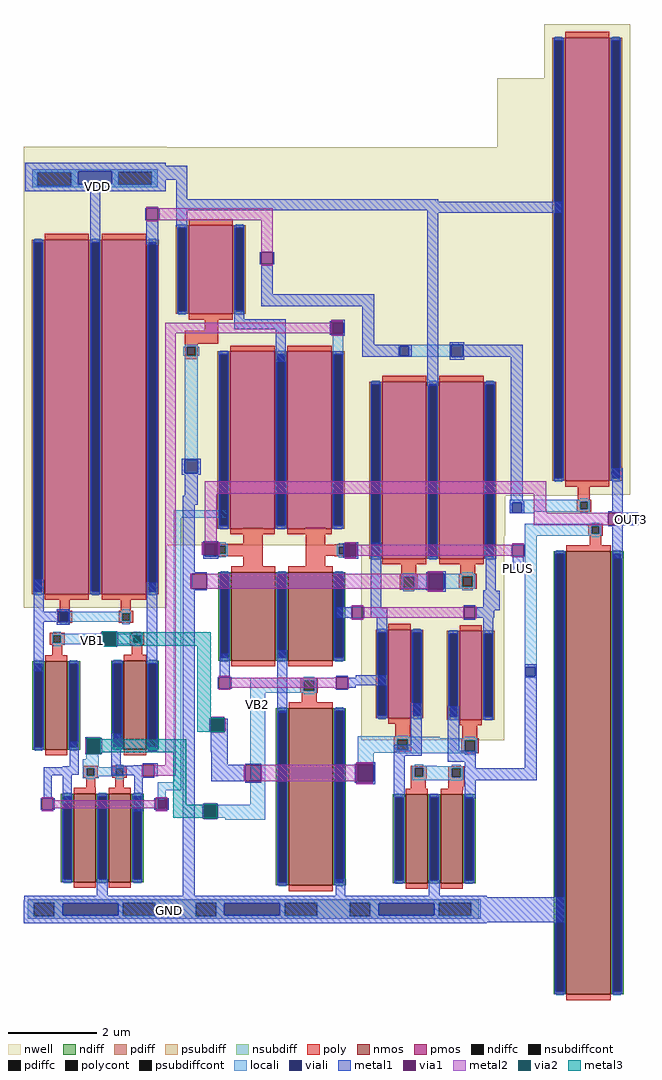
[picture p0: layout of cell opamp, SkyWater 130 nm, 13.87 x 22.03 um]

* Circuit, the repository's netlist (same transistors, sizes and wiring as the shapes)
* SPICE3 file created from opamp.ext - technology: sky130A

X0 OUT3 a_2548_325# GND GND sky130_fd_pr__nfet_01v8 ad=2.9 pd=20.58 as=2.9 ps=20.58 w=10 l=1
X1 a_2496_435# VB1 li_1394_1142# GND sky130_fd_pr__nfet_01v8 ad=0.58 pd=4.58 as=0.58 ps=4.58 w=2 l=0.5
X2 li_604_n904# VB1 a_152_n67# GND sky130_fd_pr__nfet_01v8 ad=1.16 pd=9.16 as=0.58 ps=4.58 w=2 l=0.5
X3 a_2548_325# a_1746_n822# GND GND sky130_fd_pr__nfet_01v8 ad=0.58 pd=4.58 as=0.29 ps=2.29 w=2 l=0.5
X4 GND a_1746_n822# m1_1670_n852# GND sky130_fd_pr__nfet_01v8 ad=0.29 pd=2.29 as=0.58 ps=4.58 w=2 l=0.5
X5 m1_1412_n44# VB1 a_2548_325# VDD sky130_fd_pr__pfet_01v8 ad=0.58 pd=4.58 as=0.58 ps=4.58 w=2 l=0.5
X6 li_1394_1142# VB2 GND GND sky130_fd_pr__nfet_01v8 ad=1.16 pd=9.16 as=5.22 ps=38.32 w=2 l=0.5
X7 GND VB2 li_604_n904# GND sky130_fd_pr__nfet_01v8 ad=0 pd=0 as=0 ps=0 w=2 l=0.5
X8 m1_1670_n852# VB1 m1_875_n364# VDD sky130_fd_pr__pfet_01v8 ad=0.58 pd=4.58 as=1.74 ps=13.16 w=2 l=0.5
X9 m1_1144_n474# OUT3 m1_875_n364# GND sky130_fd_pr__nfet_01v8 ad=0.29 pd=2.29 as=0.58 ps=4.58 w=2 l=1
X10 m1_1412_n44# PLUS m1_1144_n474# GND sky130_fd_pr__nfet_01v8 ad=0.58 pd=4.58 as=0.29 ps=2.29 w=2 l=1
X11 OUT3 a_2496_435# VDD VDD sky130_fd_pr__pfet_01v8 ad=2.9 pd=20.58 as=2.9 ps=20.58 w=10 l=1
X12 m1_950_1257# GND VDD VDD sky130_fd_pr__pfet_01v8 ad=0.58 pd=4.58 as=0.58 ps=4.58 w=2 l=1
X13 a_2496_435# a_152_n67# VDD VDD sky130_fd_pr__pfet_01v8 ad=2.32 pd=16.58 as=1.16 ps=8.29 w=8 l=1
X14 VDD a_152_n67# a_152_n67# VDD sky130_fd_pr__pfet_01v8 ad=1.16 pd=8.29 as=2.32 ps=16.58 w=8 l=1
X15 GND VB2 m1_1144_n474# GND sky130_fd_pr__nfet_01v8 ad=1.16 pd=8.58 as=1.16 ps=8.58 w=4 l=1
X16 VDD GND m1_875_n364# VDD sky130_fd_pr__pfet_01v8 ad=0.58 pd=4.29 as=1.16 ps=8.58 w=4 l=1
X17 m1_1412_n44# GND VDD VDD sky130_fd_pr__pfet_01v8 ad=1.16 pd=8.58 as=0.58 ps=4.29 w=4 l=1
X18 m1_950_1257# OUT3 li_604_n904# VDD sky130_fd_pr__pfet_01v8 ad=1.74 pd=13.16 as=1.16 ps=8.58 w=4 l=1
X19 li_1394_1142# PLUS m1_950_1257# VDD sky130_fd_pr__pfet_01v8 ad=1.16 pd=8.58 as=0 ps=0 w=4 l=1

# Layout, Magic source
magic
tech sky130A
magscale 1 2
<< nwell >>
rect 0 2080 646 2081
rect 2138 2080 2504 2392
rect 0 1078 2504 2080
rect 2 506 2504 1078
rect 2 326 2174 506
rect 2 284 2170 326
rect 1524 -597 2170 284
<< psubdiff >>
rect 18 -1332 2054 -1318
rect 18 -1392 46 -1332
rect 138 -1390 448 -1332
rect 594 -1390 776 -1332
rect 138 -1392 776 -1390
rect 868 -1390 1178 -1332
rect 1324 -1390 1472 -1332
rect 868 -1392 1472 -1390
rect 1564 -1390 1874 -1332
rect 2020 -1390 2054 -1332
rect 1564 -1392 2054 -1390
rect 18 -1404 2054 -1392
<< nsubdiff >>
rect 38 1970 604 1980
rect 38 1966 426 1970
rect 38 1906 62 1966
rect 214 1910 426 1966
rect 578 1910 604 1970
rect 214 1906 604 1910
rect 38 1900 604 1906
<< psubdiffcont >>
rect 46 -1392 138 -1332
rect 448 -1390 594 -1332
rect 776 -1392 868 -1332
rect 1178 -1390 1324 -1332
rect 1472 -1392 1564 -1332
rect 1874 -1390 2020 -1332
<< nsubdiffcont >>
rect 62 1906 214 1966
rect 426 1910 578 1970
<< poly >>
rect 818 1252 878 1328
rect 726 1192 878 1252
rect 726 1178 786 1192
rect 726 1138 736 1178
rect 776 1138 786 1178
rect 726 1122 786 1138
rect 2502 489 2556 550
rect 2496 479 2562 489
rect 2496 445 2512 479
rect 2546 445 2562 479
rect 2496 435 2562 445
rect 2548 369 2614 379
rect 990 290 1080 362
rect 860 280 1080 290
rect 860 244 876 280
rect 912 244 1080 280
rect 860 234 1080 244
rect 990 174 1080 234
rect 1272 285 1362 364
rect 2548 335 2564 369
rect 2598 335 2614 369
rect 2548 325 2614 335
rect 1405 285 1471 287
rect 1272 277 1471 285
rect 1272 243 1421 277
rect 1455 243 1471 277
rect 2554 276 2608 325
rect 1272 235 1471 243
rect 1272 176 1362 235
rect 1405 233 1471 235
rect 1704 150 1772 210
rect 1970 154 2038 206
rect 1698 140 1778 150
rect 1698 92 1714 140
rect 1762 92 1778 140
rect 1698 82 1778 92
rect 1964 144 2044 154
rect 1964 96 1980 144
rect 2028 96 2044 144
rect 1964 86 2044 96
rect 162 -13 208 54
rect 438 -13 484 62
rect 152 -23 218 -13
rect 152 -57 168 -23
rect 202 -57 218 -23
rect 152 -67 218 -57
rect 428 -23 494 -13
rect 428 -57 444 -23
rect 478 -57 494 -23
rect 428 -67 494 -57
rect 118 -123 184 -113
rect 118 -157 134 -123
rect 168 -157 184 -123
rect 118 -167 184 -157
rect 478 -123 544 -113
rect 478 -157 494 -123
rect 528 -157 544 -123
rect 478 -167 544 -157
rect 128 -224 174 -167
rect 488 -226 534 -167
rect 1248 -326 1328 -316
rect 1248 -374 1264 -326
rect 1312 -374 1328 -326
rect 1248 -384 1328 -374
rect 1254 -442 1322 -384
rect 1676 -582 1744 -506
rect 1670 -592 1750 -582
rect 1980 -588 2048 -510
rect 1670 -640 1686 -592
rect 1734 -640 1750 -592
rect 1670 -650 1750 -640
rect 1974 -598 2054 -588
rect 1974 -646 1990 -598
rect 2038 -646 2054 -598
rect 1974 -656 2054 -646
rect 269 -723 335 -713
rect 269 -757 285 -723
rect 319 -757 335 -723
rect 269 -767 335 -757
rect 399 -723 465 -713
rect 399 -757 415 -723
rect 449 -757 465 -723
rect 399 -767 465 -757
rect 1748 -722 1820 -712
rect 1748 -762 1764 -722
rect 1804 -762 1820 -722
rect 282 -826 322 -767
rect 412 -826 452 -767
rect 1748 -772 1820 -762
rect 1916 -724 1988 -714
rect 1916 -764 1932 -724
rect 1972 -764 1988 -724
rect 1748 -802 1814 -772
rect 1746 -822 1814 -802
rect 1916 -804 1988 -764
rect 1916 -822 1984 -804
rect 1754 -842 1814 -822
rect 1922 -842 1982 -822
<< polycont >>
rect 736 1138 776 1178
rect 2512 445 2546 479
rect 876 244 912 280
rect 2564 335 2598 369
rect 1421 243 1455 277
rect 1714 92 1762 140
rect 1980 96 2028 144
rect 168 -57 202 -23
rect 444 -57 478 -23
rect 134 -157 168 -123
rect 494 -157 528 -123
rect 1264 -374 1312 -326
rect 1686 -640 1734 -592
rect 1990 -646 2038 -598
rect 285 -757 319 -723
rect 415 -757 449 -723
rect 1764 -762 1804 -722
rect 1932 -764 1972 -724
<< locali >>
rect 38 1972 604 1980
rect 38 1966 246 1972
rect 38 1906 62 1966
rect 214 1912 246 1966
rect 398 1970 604 1972
rect 398 1912 426 1970
rect 214 1910 426 1912
rect 578 1910 604 1970
rect 214 1906 604 1910
rect 38 1900 604 1906
rect 726 1178 786 1188
rect 720 1138 736 1178
rect 776 1138 792 1178
rect 1394 1142 1442 1240
rect 1691 1181 1929 1187
rect 1691 1139 1697 1181
rect 1739 1139 1929 1181
rect 726 668 786 1138
rect 1691 1133 1929 1139
rect 2512 489 2546 495
rect 2195 479 2556 489
rect 2195 475 2512 479
rect 676 406 920 442
rect 2195 435 2205 475
rect 2199 433 2205 435
rect 2247 445 2512 475
rect 2546 445 2556 479
rect 2247 435 2556 445
rect 2247 433 2303 435
rect 2199 427 2303 433
rect 2512 429 2546 435
rect 168 -17 202 -7
rect 444 -17 478 -7
rect 201 -23 484 -17
rect 202 -57 444 -23
rect 478 -57 484 -23
rect 201 -63 484 -57
rect 168 -73 202 -63
rect 444 -73 478 -63
rect 134 -117 168 -107
rect 494 -117 528 -107
rect 128 -123 361 -117
rect 128 -157 134 -123
rect 168 -157 361 -123
rect 128 -163 361 -157
rect 407 -123 534 -117
rect 407 -157 494 -123
rect 528 -157 534 -123
rect 407 -163 534 -157
rect 134 -173 168 -163
rect 494 -173 528 -163
rect 283 -670 336 -649
rect 283 -676 338 -670
rect 281 -684 338 -676
rect 266 -720 338 -684
rect 415 -720 449 -707
rect 266 -723 452 -720
rect 266 -757 285 -723
rect 319 -757 415 -723
rect 449 -757 452 -723
rect 266 -760 452 -757
rect 266 -770 338 -760
rect 285 -773 319 -770
rect 415 -773 449 -760
rect 676 -786 712 406
rect 2564 379 2598 385
rect 2261 369 2608 379
rect 2261 335 2564 369
rect 2598 335 2608 369
rect 2261 325 2608 335
rect 876 290 912 296
rect 872 280 922 290
rect 1421 285 1455 293
rect 872 244 876 280
rect 912 244 922 280
rect 872 234 922 244
rect 1413 277 1455 285
rect 1413 243 1421 277
rect 1413 235 1455 243
rect 876 228 912 234
rect 1421 227 1455 235
rect 1714 154 1762 156
rect 1980 154 2028 160
rect 1714 150 1830 154
rect 1704 140 1830 150
rect 1704 92 1714 140
rect 1762 92 1830 140
rect 1704 86 1830 92
rect 1898 144 2038 154
rect 1898 96 1980 144
rect 2028 96 2038 144
rect 1898 86 2038 96
rect 1704 82 1862 86
rect 1714 76 1762 82
rect 1980 80 2028 86
rect 2261 -267 2315 325
rect 2564 319 2598 325
rect 2261 -309 2267 -267
rect 2309 -309 2315 -267
rect 1264 -316 1312 -310
rect 2261 -315 2315 -309
rect 604 -822 712 -786
rect 1022 -326 1322 -316
rect 1022 -374 1264 -326
rect 1312 -374 1322 -326
rect 1022 -384 1322 -374
rect 604 -868 640 -822
rect 1022 -888 1090 -384
rect 1264 -390 1312 -384
rect 1686 -580 1734 -576
rect 1507 -582 1734 -580
rect 1507 -588 1878 -582
rect 1990 -588 2038 -582
rect 1507 -592 2048 -588
rect 1507 -640 1686 -592
rect 1734 -598 2048 -592
rect 1734 -640 1990 -598
rect 1507 -646 1990 -640
rect 2038 -646 2048 -598
rect 1507 -654 2048 -646
rect 1507 -709 1581 -654
rect 1686 -656 2048 -654
rect 1990 -662 2038 -656
rect 1764 -712 1804 -706
rect 1754 -714 1864 -712
rect 1932 -714 1972 -708
rect 1754 -722 1982 -714
rect 1754 -762 1764 -722
rect 1804 -724 1982 -722
rect 1804 -762 1932 -724
rect 1754 -764 1932 -762
rect 1972 -764 1982 -724
rect 1754 -778 1982 -764
rect 1932 -780 1972 -778
rect 812 -894 1090 -888
rect 812 -942 818 -894
rect 866 -942 1090 -894
rect 812 -948 1090 -942
rect 910 -956 1090 -948
rect 18 -1332 2062 -1316
rect 18 -1392 46 -1332
rect 138 -1334 448 -1332
rect 138 -1388 176 -1334
rect 426 -1388 448 -1334
rect 138 -1390 448 -1388
rect 594 -1390 776 -1332
rect 138 -1392 776 -1390
rect 868 -1334 1178 -1332
rect 868 -1388 906 -1334
rect 1156 -1388 1178 -1334
rect 868 -1390 1178 -1388
rect 1324 -1390 1472 -1332
rect 868 -1392 1472 -1390
rect 1564 -1334 1874 -1332
rect 1564 -1388 1602 -1334
rect 1852 -1388 1874 -1334
rect 1564 -1390 1874 -1388
rect 2020 -1390 2062 -1332
rect 1564 -1392 2062 -1390
rect 18 -1404 2062 -1392
<< viali >>
rect 246 1912 398 1972
rect 1394 1240 1442 1288
rect 1697 1139 1739 1181
rect 1929 1133 1983 1187
rect 726 608 786 668
rect 2205 433 2247 475
rect 155 -23 201 -17
rect 155 -57 168 -23
rect 168 -57 201 -23
rect 155 -63 201 -57
rect 361 -163 407 -117
rect 283 -649 336 -596
rect 816 234 872 290
rect 1455 235 1505 285
rect 1830 86 1898 154
rect 2267 -309 2309 -267
rect 604 -904 640 -868
rect 1507 -783 1581 -709
rect 818 -942 866 -894
rect 176 -1388 426 -1334
rect 906 -1388 1156 -1334
rect 1602 -1388 1852 -1334
<< metal1 >>
rect 6 1997 642 2010
rect 6 1995 688 1997
rect 6 1972 738 1995
rect 6 1912 246 1972
rect 398 1932 738 1972
rect 398 1912 642 1932
rect 6 1880 642 1912
rect 300 1652 346 1880
rect 688 1845 738 1932
rect 688 1833 1872 1845
rect 548 1751 554 1805
rect 608 1751 614 1805
rect 688 1795 2427 1833
rect 554 1642 608 1751
rect 688 1720 738 1795
rect 1822 1783 2427 1795
rect 1065 1551 1071 1605
rect 1125 1551 1131 1605
rect 1071 1415 1125 1551
rect 1071 1361 1583 1415
rect 950 1303 996 1344
rect 950 1257 1183 1303
rect 1388 1294 1448 1300
rect 1137 1111 1183 1257
rect 1382 1234 1388 1294
rect 1440 1288 1448 1294
rect 1442 1240 1448 1288
rect 1440 1234 1448 1240
rect 1388 1228 1448 1234
rect 1529 1187 1583 1361
rect 1529 1181 1751 1187
rect 1529 1139 1697 1181
rect 1739 1139 1751 1181
rect 1529 1133 1751 1139
rect 1822 1002 1872 1783
rect 1923 1187 1989 1199
rect 1923 1133 1929 1187
rect 1983 1133 2253 1187
rect 1923 1121 1989 1133
rect 714 668 798 674
rect 714 608 726 668
rect 786 608 798 668
rect 714 602 798 608
rect 726 507 786 602
rect 718 466 786 507
rect 2199 481 2253 1133
rect 2193 475 2259 481
rect 718 160 772 466
rect 2193 433 2205 475
rect 2247 433 2259 475
rect 2656 436 2704 630
rect 2193 427 2259 433
rect 2638 430 2704 436
rect 2694 374 2774 430
rect 2638 368 2704 374
rect 810 296 878 302
rect 1449 291 1511 297
rect 810 234 816 240
rect 872 234 878 240
rect 810 222 878 234
rect 1443 229 1449 291
rect 1501 285 1511 291
rect 1505 235 1511 285
rect 1501 229 1511 235
rect 1449 223 1511 229
rect 718 154 826 160
rect 45 -17 91 127
rect 149 -17 207 -5
rect 45 -63 155 -17
rect 201 -63 207 -17
rect 45 -285 91 -63
rect 149 -75 207 -63
rect 355 -111 413 -105
rect 355 -169 361 -111
rect 413 -169 419 -111
rect 355 -175 413 -169
rect 556 -252 602 113
rect 718 86 758 154
rect 718 80 826 86
rect 277 -590 342 -584
rect 277 -596 289 -590
rect 208 -714 248 -604
rect 277 -649 283 -596
rect 277 -655 289 -649
rect 342 -655 348 -590
rect 277 -661 342 -655
rect 176 -720 248 -714
rect 90 -754 248 -720
rect 395 -713 437 -567
rect 560 -630 600 -628
rect 560 -646 602 -630
rect 538 -708 604 -702
rect 496 -713 538 -710
rect 90 -756 216 -754
rect 395 -755 538 -713
rect 90 -860 126 -756
rect 76 -912 82 -860
rect 134 -912 140 -860
rect 176 -882 216 -756
rect 496 -758 538 -755
rect 498 -760 538 -758
rect 590 -760 604 -708
rect 498 -766 590 -760
rect 498 -918 538 -766
rect 598 -860 646 -856
rect 590 -912 596 -860
rect 648 -912 654 -860
rect 598 -916 646 -912
rect 330 -1300 380 -1226
rect 718 -1300 772 80
rect 1474 2 1480 5
rect 1412 -44 1480 2
rect 1474 -47 1480 -44
rect 1532 -47 1538 5
rect 1567 1 1613 295
rect 1824 160 1904 166
rect 1818 80 1824 160
rect 1892 154 1904 160
rect 1898 86 1904 154
rect 1892 80 1904 86
rect 1824 74 1904 80
rect 2085 79 2131 271
rect 2200 234 2206 286
rect 2258 234 2264 286
rect 2207 161 2257 234
rect 2656 224 2704 368
rect 2074 77 2131 79
rect 1986 5 2038 11
rect 1567 -45 1640 1
rect 1594 -107 1640 -45
rect 2074 2 2149 77
rect 2038 -11 2149 2
rect 2038 -44 2123 -11
rect 1986 -53 2038 -47
rect 2074 -116 2120 -44
rect 884 -312 930 -208
rect 875 -364 881 -312
rect 933 -364 939 -312
rect 1144 -474 1190 -192
rect 2261 -267 2315 -255
rect 1410 -312 1462 -306
rect 1498 -315 1633 -303
rect 1462 -349 1633 -315
rect 2261 -309 2267 -267
rect 2309 -309 2315 -267
rect 1462 -361 1498 -349
rect 1410 -370 1462 -364
rect 838 -558 844 -498
rect 904 -501 910 -498
rect 904 -558 921 -501
rect 844 -650 921 -558
rect 1747 -617 1797 -431
rect 847 -709 921 -650
rect 1670 -667 1797 -617
rect 1915 -645 1965 -443
rect 1501 -703 1587 -697
rect 999 -709 1073 -703
rect 847 -783 999 -709
rect 999 -789 1073 -783
rect 1495 -789 1501 -703
rect 1575 -709 1587 -703
rect 1581 -783 1587 -709
rect 1575 -789 1587 -783
rect 1501 -795 1587 -789
rect 1670 -852 1720 -667
rect 1915 -695 2040 -645
rect 1990 -724 2040 -695
rect 2261 -724 2315 -309
rect 1988 -778 2315 -724
rect 1990 -860 2040 -778
rect 812 -888 872 -882
rect 806 -948 812 -888
rect 872 -948 878 -888
rect 812 -954 872 -948
rect 1408 -1300 1452 -1224
rect 1828 -1300 1878 -1230
rect 2 -1306 2090 -1300
rect 2 -1318 2444 -1306
rect 0 -1334 2444 -1318
rect 0 -1388 176 -1334
rect 426 -1388 906 -1334
rect 1156 -1388 1602 -1334
rect 1852 -1388 2444 -1334
rect 0 -1420 2444 -1388
rect 0 -1424 2090 -1420
<< via1 >>
rect 554 1751 608 1805
rect 1071 1551 1125 1605
rect 1388 1288 1440 1294
rect 1388 1240 1394 1288
rect 1394 1240 1440 1288
rect 1388 1234 1440 1240
rect 2638 374 2694 430
rect 810 290 878 296
rect 810 240 816 290
rect 816 240 872 290
rect 872 240 878 290
rect 1449 285 1501 291
rect 1449 235 1455 285
rect 1455 235 1501 285
rect 1449 229 1501 235
rect 361 -117 413 -111
rect 361 -163 407 -117
rect 407 -163 413 -117
rect 361 -169 413 -163
rect 758 86 826 154
rect 289 -596 342 -590
rect 289 -649 336 -596
rect 336 -649 342 -596
rect 289 -655 342 -649
rect 82 -912 134 -860
rect 538 -760 590 -708
rect 596 -868 648 -860
rect 596 -904 604 -868
rect 604 -904 640 -868
rect 640 -904 648 -868
rect 596 -912 648 -904
rect 1480 -47 1532 5
rect 1824 154 1892 160
rect 1824 86 1830 154
rect 1830 86 1892 154
rect 1824 80 1892 86
rect 2206 234 2258 286
rect 1986 -47 2038 5
rect 881 -364 933 -312
rect 1410 -364 1462 -312
rect 844 -558 904 -498
rect 999 -783 1073 -709
rect 1501 -709 1575 -703
rect 1501 -783 1507 -709
rect 1507 -783 1575 -709
rect 1501 -789 1575 -783
rect 812 -894 872 -888
rect 812 -942 818 -894
rect 818 -942 866 -894
rect 866 -942 872 -894
rect 812 -948 872 -942
<< metal2 >>
rect 554 1805 608 1811
rect 608 1751 1125 1805
rect 554 1745 608 1751
rect 1071 1605 1125 1751
rect 1071 1545 1125 1551
rect 1388 1294 1440 1300
rect 638 1240 1388 1288
rect 361 -110 413 -105
rect 348 -170 357 -110
rect 417 -170 426 -110
rect 361 -175 413 -170
rect 289 -590 342 -584
rect 277 -655 286 -590
rect 346 -655 355 -590
rect 289 -661 342 -655
rect 532 -760 538 -708
rect 590 -710 596 -708
rect 638 -710 686 1240
rect 1388 1228 1440 1234
rect 816 516 2358 572
rect 816 296 872 516
rect 2302 430 2358 516
rect 2302 374 2638 430
rect 2694 374 2700 430
rect 804 240 810 296
rect 878 240 884 296
rect 1449 291 1501 297
rect 2206 286 2258 292
rect 1501 235 2206 285
rect 1449 223 1501 229
rect 2206 228 2258 234
rect 1824 160 1892 166
rect 752 86 758 154
rect 826 86 1824 154
rect 1824 74 1892 80
rect 1480 5 1532 11
rect 1980 2 1986 5
rect 1532 -44 1986 2
rect 1980 -47 1986 -44
rect 2038 -47 2044 5
rect 1480 -53 1532 -47
rect 881 -312 933 -306
rect 1404 -315 1410 -312
rect 933 -361 1410 -315
rect 1404 -364 1410 -361
rect 1462 -364 1468 -312
rect 881 -370 933 -364
rect 844 -498 904 -492
rect 837 -556 844 -500
rect 904 -556 911 -500
rect 844 -564 904 -558
rect 1501 -703 1575 -697
rect 590 -758 686 -710
rect 590 -760 596 -758
rect 993 -783 999 -709
rect 1073 -783 1501 -709
rect 1501 -795 1575 -789
rect 82 -860 134 -854
rect 596 -860 648 -854
rect 134 -904 596 -868
rect 82 -918 134 -912
rect 814 -888 870 -881
rect 596 -918 648 -912
rect 806 -948 812 -888
rect 872 -948 878 -888
rect 814 -955 870 -948
<< via2 >>
rect 357 -111 417 -110
rect 357 -169 361 -111
rect 361 -169 413 -111
rect 413 -169 417 -111
rect 357 -170 417 -169
rect 286 -655 289 -590
rect 289 -655 342 -590
rect 342 -655 346 -590
rect 846 -556 902 -500
rect 814 -946 870 -890
<< metal3 >>
rect 352 -110 422 -105
rect 352 -170 357 -110
rect 417 -170 844 -110
rect 352 -175 422 -170
rect 784 -495 844 -170
rect 784 -500 907 -495
rect 784 -556 846 -500
rect 902 -556 907 -500
rect 784 -558 907 -556
rect 841 -561 907 -558
rect 281 -590 351 -585
rect 281 -655 286 -590
rect 346 -592 351 -590
rect 346 -652 734 -592
rect 346 -655 351 -652
rect 281 -660 351 -655
rect 674 -888 734 -652
rect 809 -888 875 -885
rect 674 -890 875 -888
rect 674 -946 814 -890
rect 870 -946 875 -890
rect 674 -948 875 -946
rect 809 -951 875 -948
use sky130_fd_pr__nfet_01v8_42C9PJ  sky130_fd_pr__nfet_01v8_42C9PJ_0
transform 1 0 355 0 1 -1038
box -187 -226 187 226
use sky130_fd_pr__nfet_01v8_42C9PJ  sky130_fd_pr__nfet_01v8_42C9PJ_1
transform 1 0 1853 0 1 -1042
box -187 -226 187 226
use sky130_fd_pr__nfet_01v8_NF6LMN  sky130_fd_pr__nfet_01v8_NF6LMN_0
transform 1 0 2550 0 1 -744
box -158 -1026 158 1026
use sky130_fd_pr__nfet_01v8_SAC9P4  sky130_fd_pr__nfet_01v8_SAC9P4_0
transform 1 0 502 0 1 -438
box -108 -226 108 226
use sky130_fd_pr__nfet_01v8_SAC9P4  sky130_fd_pr__nfet_01v8_SAC9P4_1
transform 1 0 146 0 1 -440
box -108 -226 108 226
use sky130_fd_pr__nfet_01v8_SLJEK5  sky130_fd_pr__nfet_01v8_SLJEK5_0
transform 1 0 1296 0 1 -852
box -158 -426 158 426
use sky130_fd_pr__nfet_01v8_VYPHSS  sky130_fd_pr__nfet_01v8_VYPHSS_0
transform 1 0 1165 0 1 -38
box -287 -226 287 226
use sky130_fd_pr__pfet_01v8_7Q4LMB  sky130_fd_pr__pfet_01v8_7Q4LMB_0
transform 1 0 2544 0 1 1574
box -194 -1062 194 1062
use sky130_fd_pr__pfet_01v8_7Q88LS  sky130_fd_pr__pfet_01v8_7Q88LS_0
transform 1 0 1847 0 1 622
box -323 -462 323 462
use sky130_fd_pr__pfet_01v8_7Q88LS  sky130_fd_pr__pfet_01v8_7Q88LS_1
transform 1 0 1161 0 1 758
box -323 -462 323 462
use sky130_fd_pr__pfet_01v8_9Q4LM2  sky130_fd_pr__pfet_01v8_9Q4LM2_0
transform 1 0 844 0 1 1528
box -194 -262 194 262
use sky130_fd_pr__pfet_01v8_SK88LG  sky130_fd_pr__pfet_01v8_SK88LG_0
transform 1 0 323 0 1 862
box -323 -862 323 862
use sky130_fd_pr__pfet_01v8_W7GQZ7  sky130_fd_pr__pfet_01v8_W7GQZ7_0
transform 1 0 2018 0 1 -304
box -144 -262 144 262
use sky130_fd_pr__pfet_01v8_W7GQZ7  sky130_fd_pr__pfet_01v8_W7GQZ7_1
transform 1 0 1696 0 1 -298
box -144 -262 144 262
<< labels >>
flabel locali s 312 -148 312 -148 0 FreeSans 1600 0 0 0 VB1
port 1 nsew
flabel metal1 s 658 -1366 658 -1366 0 FreeSans 1600 0 0 0 GND
port 2 nsew
flabel locali s 1054 -436 1054 -436 0 FreeSans 1600 0 0 0 VB2
port 3 nsew
flabel metal1 s 2232 178 2232 178 0 FreeSans 1600 0 0 0 PLUS
port 4 nsew
flabel metal1 s 332 1902 332 1902 0 FreeSans 1600 0 0 0 VDD
port 5 nsew
flabel metal1 s 2742 398 2742 398 0 FreeSans 1600 0 0 0 OUT3
port 6 nsew
<< end >>

# cell sky130_fd_pr__nfet_01v8_42C9PJ: kit device sky130_fd_pr__nfet_01v8, w 2 l 0.5 m 1 nf 2 diffcov 100 polycov 100 guard 0 glc 1 grc 1 gtc 1 gbc 1 tbcov 100 rlcov 100 topc 0 botc 0 poverlap 0 doverlap 1 lmin 0.15 wmin 0.42 compatible {sky130_fd_pr__nfet_01v8 sky130_fd_pr__nfet_01v8_lvt sky130_fd_bs_flash__special_sonosfet_star sky130_fd_pr__nfet_g5v0d10v5 sky130_fd_pr__nfet_05v0_nvt sky130_fd_pr__nfet_03v3_nvt} full_metal 1 viasrc 100 viadrn 100 viagate 100 viagb 0 viagr 0 viagl 0 viagt 0

# cell sky130_fd_pr__nfet_01v8_NF6LMN: kit device sky130_fd_pr__nfet_01v8, w 10 l 1 m 1 nf 1 diffcov 100 polycov 100 guard 0 glc 1 grc 1 gtc 1 gbc 1 tbcov 100 rlcov 100 topc 0 botc 0 poverlap 0 doverlap 1 lmin 0.15 wmin 0.42 compatible {sky130_fd_pr__nfet_01v8 sky130_fd_pr__nfet_01v8_lvt sky130_fd_bs_flash__special_sonosfet_star sky130_fd_pr__nfet_g5v0d10v5 sky130_fd_pr__nfet_05v0_nvt sky130_fd_pr__nfet_03v3_nvt} full_metal 1 viasrc 100 viadrn 100 viagate 100 viagb 0 viagr 0 viagl 0 viagt 0

# cell sky130_fd_pr__nfet_01v8_SAC9P4: kit device sky130_fd_pr__nfet_01v8, w 2 l 0.5 m 1 nf 1 diffcov 100 polycov 100 guard 0 glc 1 grc 1 gtc 1 gbc 1 tbcov 100 rlcov 100 topc 0 botc 0 poverlap 0 doverlap 1 lmin 0.15 wmin 0.42 compatible {sky130_fd_pr__nfet_01v8 sky130_fd_pr__nfet_01v8_lvt sky130_fd_bs_flash__special_sonosfet_star sky130_fd_pr__nfet_g5v0d10v5 sky130_fd_pr__nfet_05v0_nvt sky130_fd_pr__nfet_03v3_nvt} full_metal 1 viasrc 100 viadrn 100 viagate 100 viagb 0 viagr 0 viagl 0 viagt 0

# cell sky130_fd_pr__nfet_01v8_SLJEK5: kit device sky130_fd_pr__nfet_01v8, w 4 l 1 m 1 nf 1 diffcov 100 polycov 100 guard 0 glc 1 grc 1 gtc 1 gbc 1 tbcov 100 rlcov 100 topc 0 botc 0 poverlap 0 doverlap 1 lmin 0.15 wmin 0.42 compatible {sky130_fd_pr__nfet_01v8 sky130_fd_pr__nfet_01v8_lvt sky130_fd_bs_flash__special_sonosfet_star sky130_fd_pr__nfet_g5v0d10v5 sky130_fd_pr__nfet_05v0_nvt sky130_fd_pr__nfet_03v3_nvt} full_metal 1 viasrc 100 viadrn 100 viagate 100 viagb 0 viagr 0 viagl 0 viagt 0

# cell sky130_fd_pr__nfet_01v8_VYPHSS: kit device sky130_fd_pr__nfet_01v8, w 2 l 1 m 1 nf 2 diffcov 100 polycov 100 guard 0 glc 1 grc 1 gtc 1 gbc 1 tbcov 100 rlcov 100 topc 0 botc 0 poverlap 0 doverlap 1 lmin 0.15 wmin 0.42 compatible {sky130_fd_pr__nfet_01v8 sky130_fd_pr__nfet_01v8_lvt sky130_fd_bs_flash__special_sonosfet_star sky130_fd_pr__nfet_g5v0d10v5 sky130_fd_pr__nfet_05v0_nvt sky130_fd_pr__nfet_03v3_nvt} full_metal 1 viasrc 100 viadrn 100 viagate 100 viagb 0 viagr 0 viagl 0 viagt 0

# cell sky130_fd_pr__pfet_01v8_7Q4LMB: kit device sky130_fd_pr__pfet_01v8, w 10 l 1 m 1 nf 1 diffcov 100 polycov 100 guard 0 glc 1 grc 1 gtc 1 gbc 1 tbcov 100 rlcov 100 topc 0 botc 0 poverlap 0 doverlap 1 lmin 0.15 wmin 0.42 compatible {sky130_fd_pr__pfet_01v8 sky130_fd_pr__pfet_01v8_lvt sky130_fd_pr__pfet_01v8_hvt sky130_fd_pr__pfet_g5v0d10v5} full_metal 1 viasrc 100 viadrn 100 viagate 100 viagb 0 viagr 0 viagl 0 viagt 0

# cell sky130_fd_pr__pfet_01v8_7Q88LS: kit device sky130_fd_pr__pfet_01v8, w 4 l 1 m 1 nf 2 diffcov 100 polycov 100 guard 0 glc 1 grc 1 gtc 1 gbc 1 tbcov 100 rlcov 100 topc 0 botc 0 poverlap 0 doverlap 1 lmin 0.15 wmin 0.42 compatible {sky130_fd_pr__pfet_01v8 sky130_fd_pr__pfet_01v8_lvt sky130_fd_pr__pfet_01v8_hvt sky130_fd_pr__pfet_g5v0d10v5} full_metal 1 viasrc 100 viadrn 100 viagate 100 viagb 0 viagr 0 viagl 0 viagt 0

# cell sky130_fd_pr__pfet_01v8_9Q4LM2: kit device sky130_fd_pr__pfet_01v8, w 2 l 1 m 1 nf 1 diffcov 100 polycov 100 guard 0 glc 1 grc 1 gtc 1 gbc 1 tbcov 100 rlcov 100 topc 0 botc 0 poverlap 0 doverlap 1 lmin 0.15 wmin 0.42 compatible {sky130_fd_pr__pfet_01v8 sky130_fd_pr__pfet_01v8_lvt sky130_fd_pr__pfet_01v8_hvt sky130_fd_pr__pfet_g5v0d10v5} full_metal 1 viasrc 100 viadrn 100 viagate 100 viagb 0 viagr 0 viagl 0 viagt 0

# cell sky130_fd_pr__pfet_01v8_SK88LG: kit device sky130_fd_pr__pfet_01v8, w 8 l 1 m 1 nf 2 diffcov 100 polycov 100 guard 0 glc 1 grc 1 gtc 1 gbc 1 tbcov 100 rlcov 100 topc 0 botc 0 poverlap 0 doverlap 1 lmin 0.15 wmin 0.42 compatible {sky130_fd_pr__pfet_01v8 sky130_fd_pr__pfet_01v8_lvt sky130_fd_pr__pfet_01v8_hvt sky130_fd_pr__pfet_g5v0d10v5} full_metal 1 viasrc 100 viadrn 100 viagate 100 viagb 0 viagr 0 viagl 0 viagt 0

# cell sky130_fd_pr__pfet_01v8_W7GQZ7: kit device sky130_fd_pr__pfet_01v8, w 2 l 0.5 m 1 nf 1 diffcov 100 polycov 100 guard 0 glc 1 grc 1 gtc 1 gbc 1 tbcov 100 rlcov 100 topc 0 botc 0 poverlap 0 doverlap 1 lmin 0.15 wmin 0.42 compatible {sky130_fd_pr__pfet_01v8 sky130_fd_pr__pfet_01v8_lvt sky130_fd_pr__pfet_01v8_hvt sky130_fd_pr__pfet_g5v0d10v5} full_metal 1 viasrc 100 viadrn 100 viagate 100 viagb 0 viagr 0 viagl 0 viagt 0
